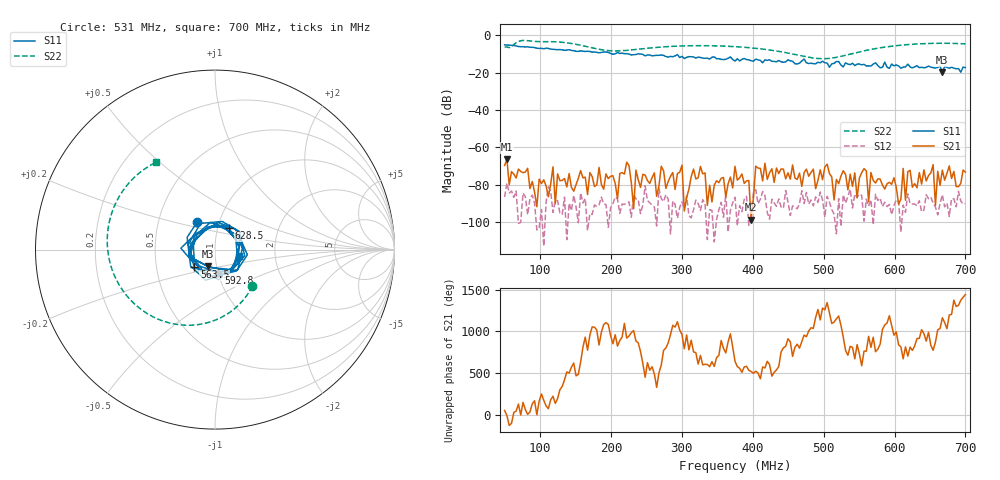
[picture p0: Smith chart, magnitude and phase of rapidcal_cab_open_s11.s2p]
! Agilent Technologies,N5247A,US51370533,A.10.49.04
! A-N5247A-70533 Fri Jun 03 11:30:42 2016
# HZ S RI R 50
!freq (Hz)  S11R  S11I  S21R  S21I  S12R  S12I  S22R  S22I
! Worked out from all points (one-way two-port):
!   201 points, 50 MHz to 700 MHz, reference 50 ohm
!   highest |S21| = -66.45 dB at 53.25 MHz (marker M1); lowest = -98.7 dB at 397.8 MHz (marker M2)
!   lowest |S11| = -19.8 dB at 667.5 MHz (marker M3), VSWR 1.23, Z = 45.3 - j8.62 ohm
!   |S11| at or under -10 dB: 201.6 MHz to 205.2 MHz (3.631 MHz wide, 1.78 % of centre); 224.3 MHz to 237.8 MHz (13.49 MHz wide, 5.84 % of centre); 240.2 MHz to end of sweep
!   |S22| runs from -12.6 to -2.8 dB; largest |S21 - S12| = 0.00046
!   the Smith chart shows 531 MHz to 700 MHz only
!   S11 on the Smith chart (normalised r, x): 531 MHz: 0.78, +0.25; 563.5 MHz: 0.78, -0.16; 592.8 MHz: 1.00, -0.26; 628.5 MHz: 1.14, +0.28; 700 MHz: 1.30, -0.09
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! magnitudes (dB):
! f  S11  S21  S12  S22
! 50 MHz  -5.1  -69.6  -86.5  -6.4
! 53.25 MHz  -5.2  -66.5  -79.0  -6.3
! 56.5 MHz  -5.2  -80.0  -84.4  -6.6
! 160.5 MHz  -8.5  -76.3  -89.7  -5.6
! 209.2 MHz  -9.3  -87.4  -87.6  -8.4
! 222.2 MHz  -9.9  -67.9  -89.6  -8.1
! 267.8 MHz  -10.8  -80.6  -82.1  -6.4
! 271 MHz  -10.6  -70.0  -87.4  -6.3
! 277.5 MHz  -11.4  -81.9  -85.3  -6.1
! 300.2 MHz  -11.3  -69.5  -89.1  -5.7
! 371.8 MHz  -13.0  -81.7  -89.6  -6.0
! 375 MHz  -13.8  -70.1  -86.7  -6.1
! 397.8 MHz  -13.6  -98.7  -95.3  -6.7
! 417.2 MHz  -13.2  -68.5  -85.9  -7.5
! 430.2 MHz  -14.0  -78.7  -89.7  -8.2
! 485.5 MHz  -15.2  -71.6  -91.3  -12.2
! 531 MHz  -14.8  -74.5  -89.8  -10.7
! 563.5 MHz  -16.4  -89.0  -91.4  -7.8
! 592.8 MHz  -17.7  -78.7  -90.5  -6.0
! 628.5 MHz  -16.9  -79.4  -90.3  -4.7
! 667.5 MHz  -19.8  -72.1  -85.3  -4.3
! 700 MHz  -17.3  -73.2  -90.0  -4.6
